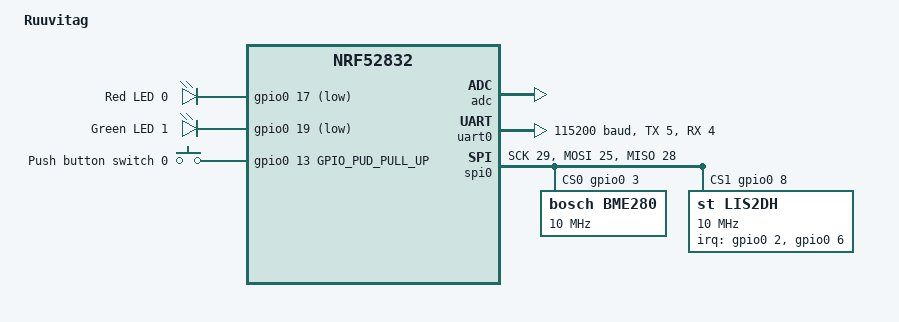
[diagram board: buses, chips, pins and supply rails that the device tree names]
/*
 * Copyright (c) 2017 Shawn Nock <shawn@monadnock.ca>
 * Copyright (c) 2017 Linaro Limited
 *
 * SPDX-License-Identifier: Apache-2.0
 */

/dts-v1/;
#include <nordic/nrf52832_qfaa.dtsi>

/ {
	model = "Ruuvitag";
	compatible = "nordic,pca10040-dk", "nordic,nrf52832-qfaa",
		     "nordic,nrf52832";

	chosen {
		zephyr,console = &uart0;
		zephyr,shell-uart = &uart0;
		zephyr,uart-mcumgr = &uart0;
		zephyr,bt-mon-uart = &uart0;
		zephyr,bt-c2h-uart = &uart0;
		zephyr,sram = &sram0;
		zephyr,flash = &flash0;
		zephyr,code-partition = &slot0_partition;
	};

/* These aliases are provided for compatibility with samples */
	aliases {
		led0 = &led0;
		led1 = &led1;
		sw0 = &button0;
	};

	leds {
		compatible = "gpio-leds";
		led0: led_0 {
			gpios = <&gpio0 17 GPIO_INT_ACTIVE_LOW>;
			label = "Red LED 0";
		};
		led1: led_1 {
			gpios = <&gpio0 19 GPIO_INT_ACTIVE_LOW>;
			label = "Green LED 1";
		};
	};

	buttons {
		compatible = "gpio-keys";
		button0: button_0 {
			gpios = <&gpio0 13 GPIO_PUD_PULL_UP>;
			label = "Push button switch 0";
		};
	};

	
};

&adc {
	status = "okay";
};

&gpiote {
	status = "okay";
};

&gpio0 {
	status = "okay";
};

&uart0 {
	status = "okay";
	compatible = "nordic,nrf-uart";
	current-speed = <115200>;
	tx-pin = <5>;
	rx-pin = <4>;
	cts-pin = <31>;
	rts-pin = <30>;
};

/*
&i2c0 {
	compatible = "nordic,nrf-twi"; 
	status = "okay";
	clock-frequency = <I2C_BITRATE_FAST>;
	sda-pin = <20>;
	scl-pin = <19>;

	/*lis2dh12@19 {
		compatible = "st,lis2dh";
		reg = <0x19>;
		irq-gpios = <&gpio0 2 0>, <&gpio0 6 0>;
		
		label = "LIS2DH12";
	};

};*/

&spi0 {
	compatible = "nordic,nrf-spi";
	/* Cannot be used together with i2c0. */
	status = "okay";
	sck-pin = <29>;
	mosi-pin = <25>;
	miso-pin = <28>;
	cs-pin = <2>;
    cs-gpios = <&gpio0 3 0>, <&gpio0 8 0>;

	bme280@0 {
		compatible = "bosch,bme280";
		reg = <0x00>;
		spi-max-frequency = <10000000>;
		label= "BME280";
	};
	
	lis2dh@1 {
		compatible = "st,lis2dh";
		reg = <0x01>;
		spi-max-frequency = <10000000>;
		irq-gpios = <&gpio0 2 GPIO_INT_ACTIVE_HIGH>, <&gpio0 6 GPIO_INT_ACTIVE_HIGH>;
		label = "LIS2DH";
	};

	
};


&flash0 {
	/*
	 * For more information, see:
	 * http://docs.zephyrproject.org/latest/guides/dts/index.html#flash-partitions
	 */
	partitions {
		compatible = "fixed-partitions";
		#address-cells = <1>;
		#size-cells = <1>;

		boot_partition: partition@0 {
			label = "mcuboot";
			reg = <0x00000000 0xc000>;
		};
		slot0_partition: partition@c000 {
			label = "image-0";
			reg = <0x0000C000 0x32000>;
		};
		slot1_partition: partition@3e000 {
			label = "image-1";
			reg = <0x0003E000 0x32000>;
		};
		scratch_partition: partition@70000 {
			label = "image-scratch";
			reg = <0x00070000 0xa000>;
		};
		storage_partition: partition@7a000 {
			label = "storage";
			reg = <0x0007a000 0x00006000>;
		};
	};
};
